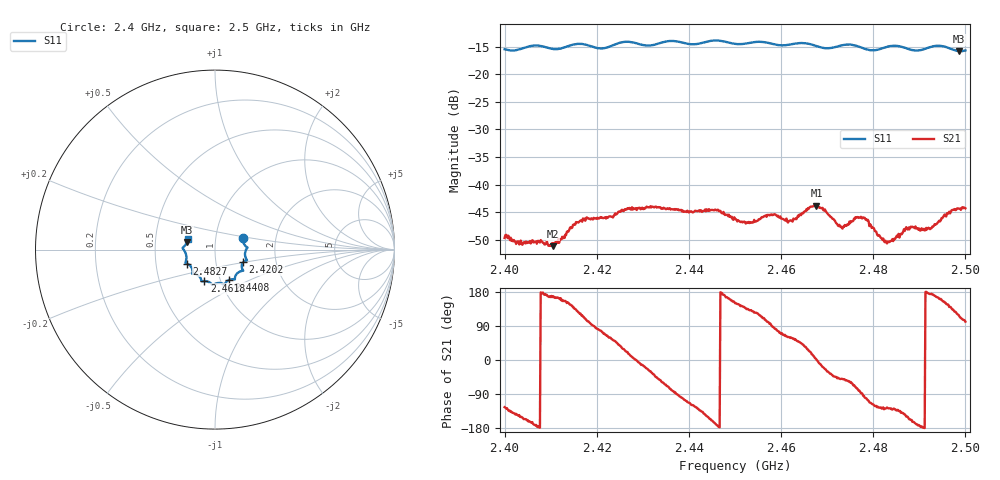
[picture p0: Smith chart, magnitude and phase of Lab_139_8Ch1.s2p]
# Hz S RI R
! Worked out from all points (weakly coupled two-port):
!   601 points, 2.4 GHz to 2.5 GHz, reference 50 ohm
!   highest |S21| = -43.77 dB at 2.4677 GHz (marker M1); lowest = -51.1 dB at 2.4105 GHz (marker M2)
!   lowest |S11| = -15.8 dB at 2.4987 GHz (marker M3), VSWR 1.39, Z = 36.4 + j3.17 ohm
!   |S11| at or under -10 dB: start of sweep to end of sweep
!   S12 and S22 are empty: the file has one direction only
!   S11 on the Smith chart (normalised r, x): 2.4 GHz: 1.36, +0.17; 2.4202 GHz: 1.36, -0.20; 2.4408 GHz: 1.10, -0.38; 2.4618 GHz: 0.84, -0.30; 2.4827 GHz: 0.72, -0.12; 2.5 GHz: 0.73, +0.09
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2.4e9  0.1561 0.062  -0.00186 -0.00272  0 0  0 0
2.4105e9  0.1686 -0.0116  -0.00272 0.000555  0 0  0 0
2.416667e9  0.1781 -0.0594  -0.0022 0.00422  0 0  0 0
2.420167e9  0.1567 -0.0705  0.000743 0.00498  0 0  0 0
2.426167e9  0.1574 -0.1174  0.00547 0.00248  0 0  0 0
2.433333e9  0.1119 -0.152  0.00407 -0.00477  0 0  0 0
2.440833e9  0.079 -0.1687  -0.00271 -0.00491  0 0  0 0
2.446167e9  0.0513 -0.195  -0.00587 -0.000768  0 0  0 0
2.45e9  0.0279 -0.186  -0.00423 0.00244  0 0  0 0
2.4535e9  -0.00457 -0.1929  -0.00302 0.00341  0 0  0 0
2.458333e9  -0.0263 -0.1853  0.000281 0.00533  0 0  0 0
2.461833e9  -0.0601 -0.1751  0.00238 0.00407  0 0  0 0
2.466667e9  -0.0768 -0.1685  0.00612 0.00162  0 0  0 0
2.467667e9  -0.0793 -0.161  0.00648 0.000153  0 0  0 0
2.472833e9  -0.1203 -0.1349  0.00267 -0.0032  0 0  0 0
2.478333e9  -0.1264 -0.1115  -0.000875 -0.00476  0 0  0 0
2.482667e9  -0.157 -0.0777  -0.00192 -0.00245  0 0  0 0
2.483333e9  -0.1612 -0.0762  -0.00187 -0.00241  0 0  0 0
2.487667e9  -0.1599 -0.0538  -0.00368 -0.0018  0 0  0 0
2.492667e9  -0.1774 0.00292  -0.00403 0.000379  0 0  0 0
2.498667e9  -0.1558 0.0424  -0.00264 0.00545  0 0  0 0
2.5e9  -0.1518 0.0616  -0.00118 0.00599  0 0  0 0
